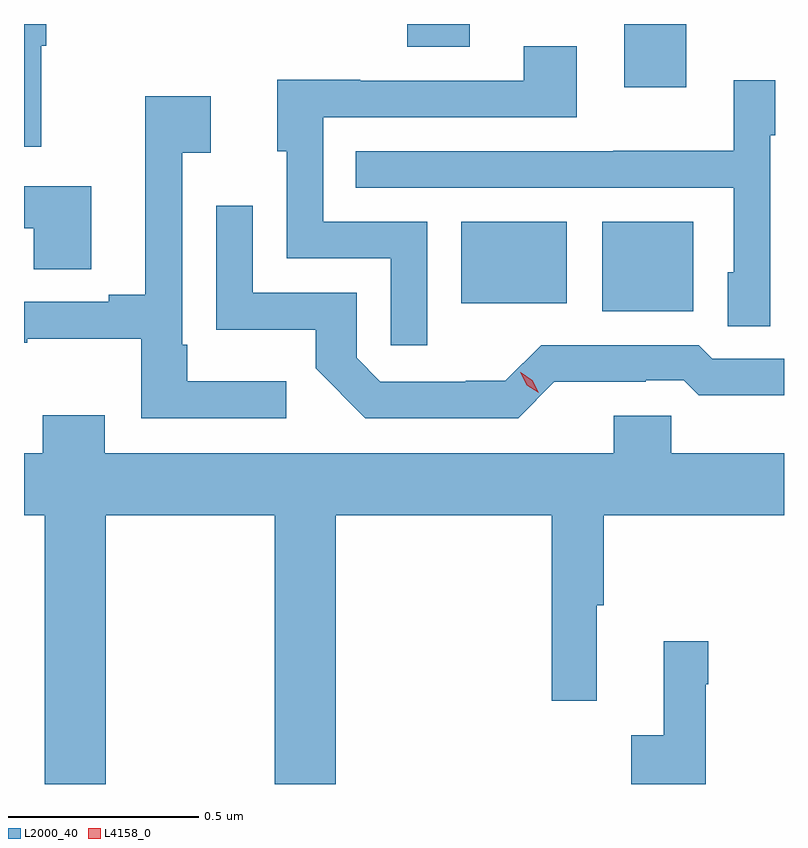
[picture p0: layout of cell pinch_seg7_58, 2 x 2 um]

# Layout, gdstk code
import gdstk
lib = gdstk.Library(unit=1e-6, precision=1e-09)
def R(c, l, rs):  # rectangles x0, y0, x1, y1
    for r in rs: c.add(gdstk.rectangle(r[:2], r[2:], *l))
def P(c, l, *ps):  # polygons
    for p in ps: c.add(gdstk.Polygon(p, *l))
L2000_40 = (2000, 40)
L4158_0 = (4158, 0)

pinch_seg7_58 = lib.new_cell('pinch_seg7_58')
R(pinch_seg7_58, L2000_40, [(894.116,1050.437,894.355,1050.673), (893.744,1050.458,894.022,1050.673), (894.173,1051.026,894.337,1051.193), (893.603,1051.133,893.767,1051.193)])
P(pinch_seg7_58, L2000_40, [(892.639,1051.136),(892.652,1051.136),(892.652,1051.193),(892.594,1051.193),(892.594,1050.87),(892.639,1050.87)],
  [(893.655,1050.672),(893.382,1050.672),(893.382,1050.948),(894.049,1050.948),(894.049,1051.135),(893.909,1051.135),(893.909,1051.044),(893.479,1051.044),(893.479,1051.046),(893.261,1051.046),(893.261,1050.858),(893.286,1050.858),(893.286,1050.576),(893.559,1050.576),(893.559,1050.348),(893.655,1050.348)],
  [(894.558,1050.9),(894.571,1050.9),(894.571,1051.045),(894.462,1051.045),(894.462,1050.859),(894.145,1050.859),(894.145,1050.858),(893.467,1050.858),(893.467,1050.762),(894.462,1050.762),(894.462,1050.54),(894.446,1050.54),(894.446,1050.397),(894.558,1050.397)],
  [(893.284,1050.253),(893.023,1050.253),(893.023,1050.349),(893.01,1050.349),(893.01,1050.854),(893.086,1050.854),(893.086,1051.003),(892.913,1051.003),(892.913,1050.481),(892.817,1050.481),(892.817,1050.462),(892.594,1050.462),(892.594,1050.354),(892.603,1050.354),(892.603,1050.365),(892.902,1050.365),(892.902,1050.156),(893.284,1050.156)],
  [(892.771,1050.766),(892.594,1050.766),(892.594,1050.656),(892.619,1050.656),(892.619,1050.547),(892.771,1050.547)],
  [(893.99,1050.251),(894.23,1050.251),(894.23,1050.255),(894.33,1050.255),(894.37,1050.216),(894.594,1050.216),(894.594,1050.312),(894.405,1050.312),(894.369,1050.348),(893.955,1050.348),(893.861,1050.254),(893.756,1050.254),(893.756,1050.252),(893.532,1050.252),(893.469,1050.315),(893.469,1050.486),(893.196,1050.486),(893.196,1050.715),(893.1,1050.715),(893.1,1050.389),(893.362,1050.389),(893.362,1050.287),(893.492,1050.156),(893.895,1050.156)],
  [(892.809,1049.9),(893.254,1049.9),(893.254,1049.193),(893.414,1049.193),(893.414,1049.9),(893.983,1049.9),(893.983,1049.412),(894.101,1049.412),(894.101,1049.664),(894.119,1049.664),(894.119,1049.9),(894.594,1049.9),(894.594,1050.064),(894.297,1050.064),(894.297,1050.162),(894.146,1050.162),(894.146,1050.064),(892.807,1050.064),(892.807,1050.163),(892.643,1050.163),(892.643,1050.064),(892.594,1050.064),(892.594,1049.9),(892.649,1049.9),(892.649,1049.193),(892.809,1049.193)],
  [(894.388,1049.456),(894.395,1049.456),(894.395,1049.569),(894.278,1049.569),(894.278,1049.321),(894.192,1049.321),(894.192,1049.193),(894.388,1049.193)])
P(pinch_seg7_58, L4158_0, [(893.948,1050.223),(893.917,1050.243),(893.9,1050.277),(893.9,1050.277),(893.901,1050.277),(893.932,1050.256),(893.948,1050.223),(893.948,1050.223)])

lib.write_gds('pinch_seg7_58.gds')
